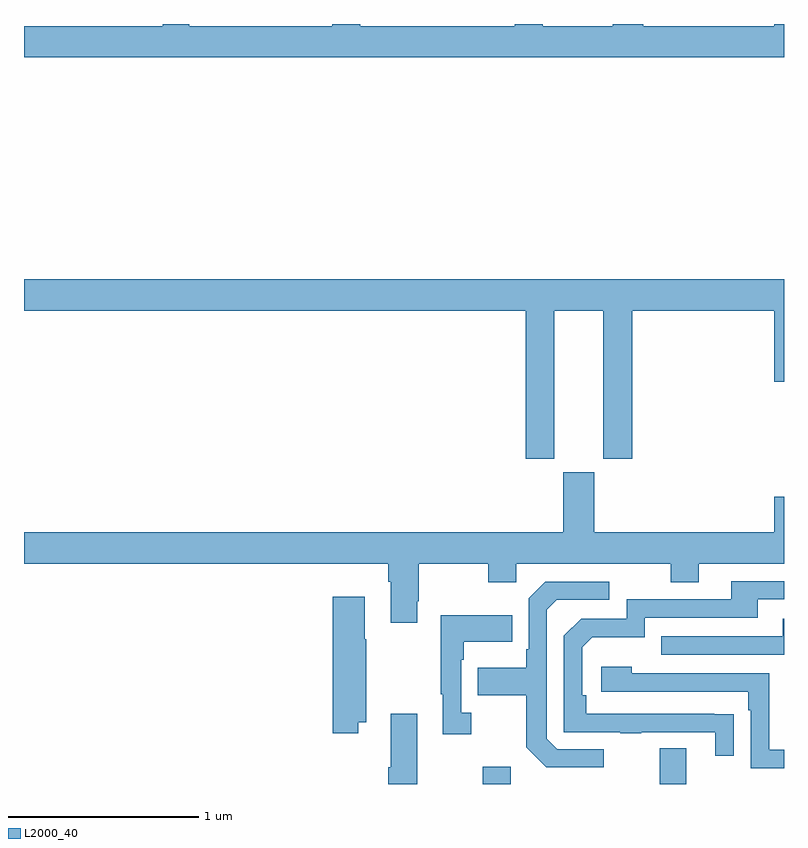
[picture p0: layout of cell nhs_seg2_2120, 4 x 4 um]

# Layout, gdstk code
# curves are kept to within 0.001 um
import gdstk
lib = gdstk.Library(unit=1e-6, precision=1e-09)
def R(c, l, rs):  # rectangles x0, y0, x1, y1
    for r in rs: c.add(gdstk.rectangle(r[:2], r[2:], *l))
def P(c, l, *ps):  # polygons
    for p in ps: c.add(gdstk.Polygon(p, *l))
L2000_40 = (2000, 40)

nhs_seg2_2120 = lib.new_cell('nhs_seg2_2120')
R(nhs_seg2_2120, L2000_40, [(223.414,655.8,223.561,655.891), (224.345,655.8,224.485,655.987)])
P(nhs_seg2_2120, L2000_40, [(225,659.8),(224.948,659.8),(224.948,659.788),(224.258,659.788),(224.258,659.8),(224.098,659.8),(224.098,659.788),(223.731,659.788),(223.731,659.8),(223.584,659.8),(223.584,659.788),(222.771,659.788),(222.771,659.8),(222.623,659.8),(222.623,659.788),(221.869,659.788),(221.869,659.8),(221.729,659.8),(221.729,659.788),(221,659.788),(221,659.624),(225,659.624)],
  [(223.792,658.292),(224.048,658.292),(224.048,657.513),(224.201,657.513),(224.201,658.292),(224.948,658.292),(224.948,657.918),(225,657.918),(225,658.456),(221,658.456),(221,658.292),(223.64,658.292),(223.64,657.513),(223.792,657.513)],
  [(223.069,656.761),(223.077,656.761),(223.077,656.96),(223.444,656.96),(223.444,656.861),(223.59,656.861),(223.59,656.96),(224.404,656.96),(224.404,656.861),(224.551,656.861),(224.551,656.96),(225,656.96),(225,657.313),(224.948,657.313),(224.948,657.124),(224.002,657.124),(224.002,657.441),(223.838,657.441),(223.838,657.124),(221,657.124),(221,656.96),(222.917,656.96),(222.917,656.864),(222.929,656.864),(222.929,656.649),(223.069,656.649)],
  [(224.735,656.168),(223.958,656.169),(223.958,656.266),(223.938,656.266),(223.938,656.52),(223.991,656.573),(224.268,656.573),(224.268,656.676),(224.863,656.676),(224.863,656.772),(225,656.772),(225,656.868),(224.723,656.868),(224.723,656.772),(224.172,656.772),(224.172,656.67),(223.932,656.67),(223.842,656.58),(223.842,656.073),(224.137,656.073),(224.137,656.068),(224.249,656.068),(224.249,656.073),(224.639,656.073),(224.639,655.95),(224.735,655.95)],
  [(224.05,655.983),(223.806,655.983),(223.752,656.037),(223.752,656.718),(223.803,656.769),(224.08,656.769),(224.08,656.865),(223.743,656.865),(223.656,656.778),(223.656,656.509),(223.644,656.509),(223.644,656.413),(223.387,656.413),(223.387,656.266),(223.644,656.266),(223.644,655.993),(223.749,655.887),(224.05,655.887)],
  [(222.76,656.126),(222.801,656.126),(222.801,656.561),(222.793,656.561),(222.793,656.785),(222.626,656.785),(222.626,656.067),(222.76,656.067)],
  [(223.354,656.174),(223.302,656.174),(223.302,656.453),(223.315,656.453),(223.315,656.549),(223.571,656.549),(223.571,656.689),(223.194,656.689),(223.194,656.273),(223.205,656.273),(223.205,656.061),(223.354,656.061)],
  [(225,656.671),(224.993,656.671),(224.993,656.577),(224.353,656.577),(224.353,656.481),(225,656.481)],
  [(225,655.98),(224.922,655.98),(224.922,656.382),(224.198,656.382),(224.198,656.416),(224.037,656.416),(224.037,656.286),(224.813,656.286),(224.813,656.189),(224.826,656.189),(224.826,655.884),(225,655.884)],
  [(223.069,656.17),(222.929,656.17),(222.929,655.888),(222.917,655.888),(222.917,655.8),(223.069,655.8)])

lib.write_gds('nhs_seg2_2120.gds')
